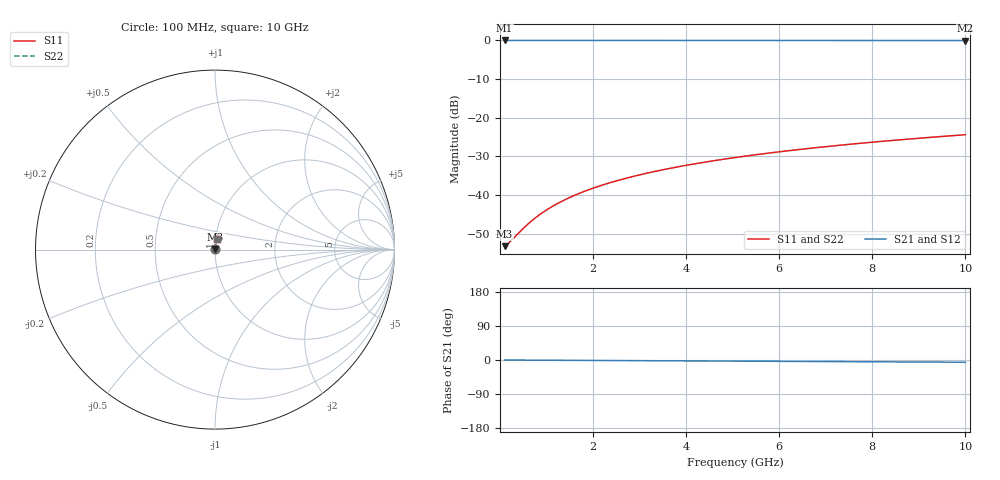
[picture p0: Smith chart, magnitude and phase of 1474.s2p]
# Hz S RI R 50.00
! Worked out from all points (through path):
!   100 points, 100 MHz to 10 GHz, reference 50 ohm
!   highest |S21| = -0.02 dB at 100 MHz (marker M1); lowest = 0.0 dB at 10 GHz (marker M2)
!   lowest |S11| = -53.3 dB at 100 MHz (marker M3), VSWR 1.00, Z = 50.2 + j0.0602 ohm
!   |S11| at or under -10 dB: start of sweep to end of sweep
!   |S22| runs from -53.3 to -24.4 dB; largest |S21 - S12| = 0
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1e8  0.00209 0.0006  0.9979 -0.00102  0.9979 -0.00102  0.00209 0.0006
2e8  0.00211 0.0012  0.9979 -0.00205  0.9979 -0.00205  0.00211 0.0012
5e8  0.00214 0.003  0.9979 -0.00512  0.9979 -0.00512  0.00214 0.003
6e8  0.00216 0.0036  0.9978 -0.00614  0.9978 -0.00614  0.00216 0.0036
7e8  0.00217 0.0042  0.9978 -0.00716  0.9978 -0.00716  0.00217 0.0042
9e8  0.0022 0.0054  0.9978 -0.00921  0.9978 -0.00921  0.0022 0.0054
1.1e9  0.00223 0.00659  0.9978 -0.0113  0.9978 -0.0113  0.00223 0.00659
1.3e9  0.00227 0.00779  0.9977 -0.0133  0.9977 -0.0133  0.00227 0.00779
1.5e9  0.00231 0.00899  0.9977 -0.0153  0.9977 -0.0153  0.00231 0.00899
1.8e9  0.00238 0.0108  0.9976 -0.0184  0.9976 -0.0184  0.00238 0.0108
2.1e9  0.00246 0.0126  0.9975 -0.0215  0.9975 -0.0215  0.00246 0.0126
2.5e9  0.00258 0.015  0.9974 -0.0256  0.9974 -0.0256  0.00258 0.015
2.9e9  0.00272 0.0174  0.9972 -0.0297  0.9972 -0.0297  0.00272 0.0174
3.4e9  0.00293 0.0204  0.997 -0.0348  0.997 -0.0348  0.00293 0.0204
3.8e9  0.00311 0.0228  0.9967 -0.0389  0.9967 -0.0389  0.00311 0.0228
4.2e9  0.00332 0.0251  0.9965 -0.043  0.9965 -0.043  0.00332 0.0251
5.1e9  0.00385 0.0305  0.9959 -0.0521  0.9959 -0.0521  0.00385 0.0305
5.9e9  0.0044 0.0353  0.9953 -0.0603  0.9953 -0.0603  0.0044 0.0353
6.7e9  0.00504 0.04  0.9945 -0.0685  0.9945 -0.0685  0.00504 0.04
7.5e9  0.00575 0.0448  0.9937 -0.0766  0.9937 -0.0766  0.00575 0.0448
8.4e9  0.00664 0.0501  0.9927 -0.0858  0.9927 -0.0858  0.00664 0.0501
1e10  0.00847 0.0595  0.9906 -0.102  0.9906 -0.102  0.00847 0.0595
